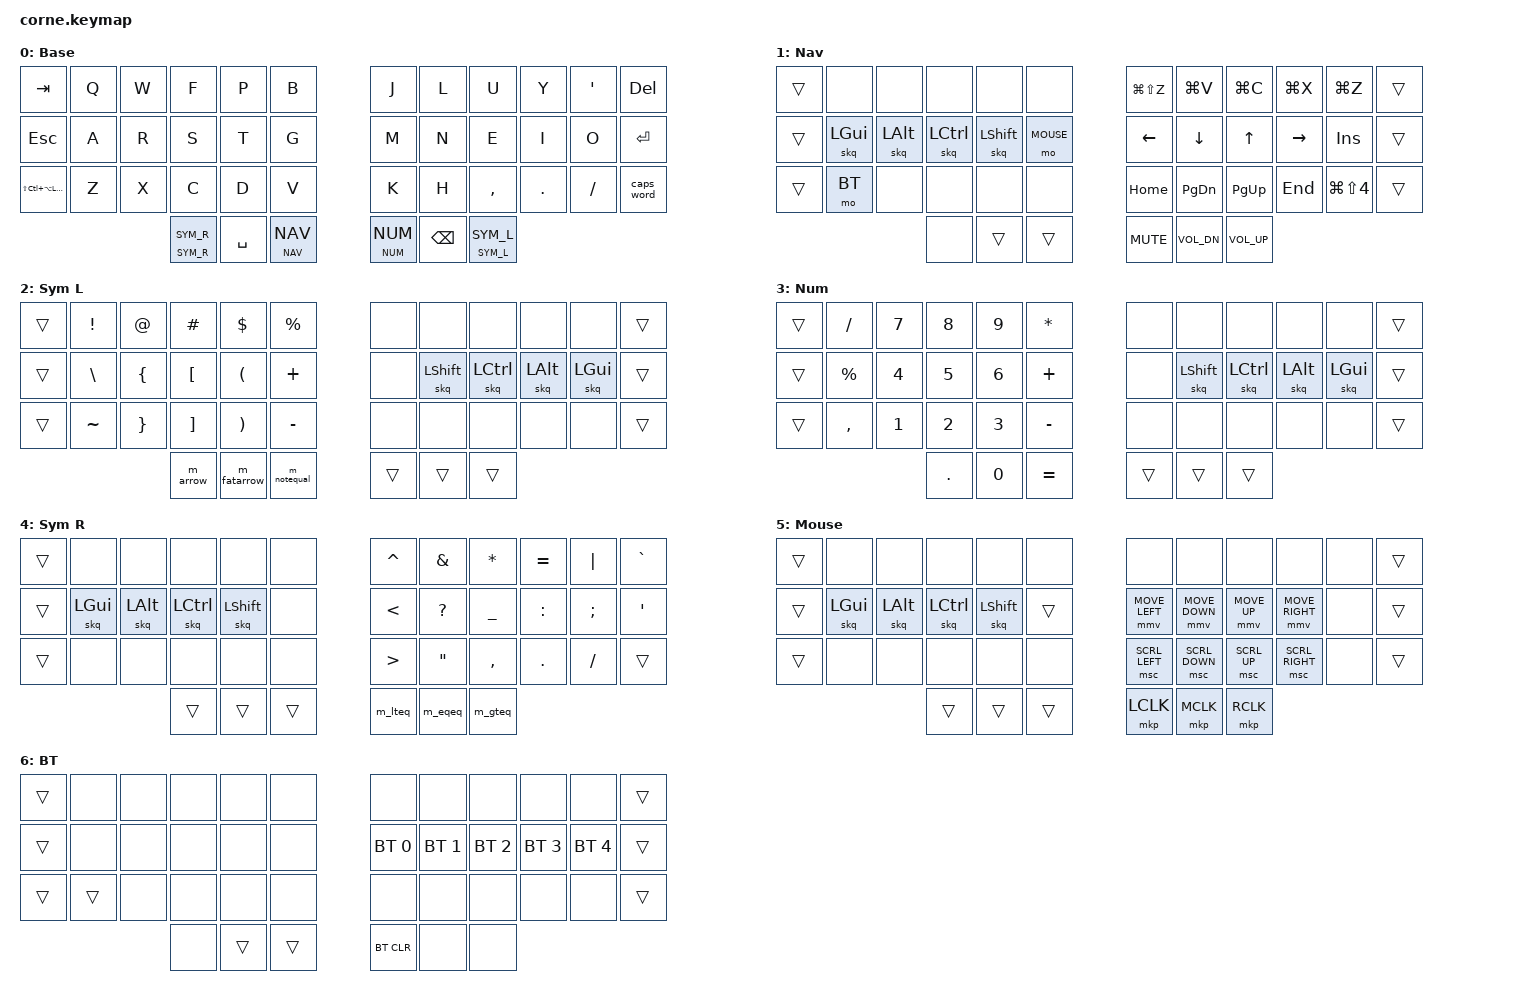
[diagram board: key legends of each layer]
/*
 * Copyright (c) 2020 The ZMK Contributors
 *
 * SPDX-License-Identifier: MIT
 */

#include <behaviors.dtsi>
#include <dt-bindings/zmk/keys.h>
#include <dt-bindings/zmk/bt.h>

#define ZMK_POINTING_DEFAULT_MOVE_VAL 1400
#include <dt-bindings/zmk/pointing.h>

#define BASE  0
#define NAV   1
#define SYM_L 2
#define NUM   3
#define SYM_R 4
#define MOUSE 5
#define BT    6

#define HYPER LS(LC(LA(LGUI)))

// Key positions (Corne 42-key)
// Row 0:   0   1   2   3   4   5    |   6   7   8   9  10  11
// Row 1:  12  13  14  15  16  17    |  18  19  20  21  22  23
// Row 2:  24  25  26  27  28  29    |  30  31  32  33  34  35
// Thumb:              36  37  38    |  39  40  41
#define KEYS_LEFT  0  1  2  3  4  5  12 13 14 15 16 17  24 25 26 27 28 29
#define KEYS_RIGHT 6  7  8  9 10 11  18 19 20 21 22 23  30 31 32 33 34 35
#define THUMBS_L   36 37 38
#define THUMBS_R   39 40 41

&mmv {
        acceleration-exponent = <1>;
        time-to-max-speed-ms = <300>;
};

&msc {
        acceleration-exponent = <1>;
        time-to-max-speed-ms = <300>;
};

/ {
        behaviors {
                // Layer tap-hold: tap = sticky-layer, hold = momentary
                lth: layer_tap_hold {
                        compatible = "zmk,behavior-hold-tap";
                        #binding-cells = <2>;
                        flavor = "tap-preferred";
                        tapping-term-ms = <200>;
                        bindings = <&mo>, <&sl>;
                };
                // Sticky mod with quick-release (holding acts as held mod)
                skq: sticky_mod_quick {
                        compatible = "zmk,behavior-sticky-key";
                        #binding-cells = <1>;
                        bindings = <&kp>;
                        release-after-ms = <1000>;
                        quick-release;
                };
        };

        macros {
                m_arrow: m_arrow {
                        compatible = "zmk,behavior-macro";
                        #binding-cells = <0>;
                        bindings = <&kp MINUS &kp GT>;
                };
                m_fatarrow: m_fatarrow {
                        compatible = "zmk,behavior-macro";
                        #binding-cells = <0>;
                        bindings = <&kp EQUAL &kp GT>;
                };
                m_notequal: m_notequal {
                        compatible = "zmk,behavior-macro";
                        #binding-cells = <0>;
                        bindings = <&kp EXCL &kp EQUAL>;
                };
                m_lteq: m_lteq {
                        compatible = "zmk,behavior-macro";
                        #binding-cells = <0>;
                        bindings = <&kp LT &kp EQUAL>;
                };
                m_eqeq: m_eqeq {
                        compatible = "zmk,behavior-macro";
                        #binding-cells = <0>;
                        bindings = <&kp EQUAL &kp EQUAL>;
                };
                m_gteq: m_gteq {
                        compatible = "zmk,behavior-macro";
                        #binding-cells = <0>;
                        bindings = <&kp GT &kp EQUAL>;
                };
        };

        keymap {
                compatible = "zmk,keymap";

                base_layer {
// -----------------------------------------------------------------------------------------
// | TAB |  Q  |  W  |  F  |  P  |  B  |   |  J  |  L  |  U  |  Y  |  '  | DEL  |
// | ESC |  A  |  R  |  S  |  T  |  G  |   |  M  |  N  |  E  |  I  |  O  | ENT  |
// | HYP |  Z  |  X  |  C  |  D  |  V  |   |  K  |  H  |  ,  |  .  |  /  | CAPW |
//                   | LT4 | SPC | LT1 |   | LT2 |BSPC | LT3 |
                        display-name = "Base";
                        bindings = <
   &kp TAB     &kp Q       &kp W       &kp F       &kp P       &kp B            &kp J     &kp L       &kp U       &kp Y       &kp SQT     &kp DEL
   &kp ESC     &kp A       &kp R       &kp S       &kp T       &kp G            &kp M     &kp N       &kp E       &kp I       &kp O       &kp RET
   &kp HYPER   &kp Z       &kp X       &kp C       &kp D       &kp V            &kp K     &kp H       &kp COMMA   &kp DOT     &kp FSLH    &caps_word
                                       &lth SYM_R SYM_R &kp SPACE &lth NAV NAV        &lth NUM NUM &kp BSPC &lth SYM_L SYM_L
                        >;
                };

                nav_layer {
// -----------------------------------------------------------------------------------------
// |  ▽  |  ·  |  ·  |  ·  |  ·  |  ·  |   | RDO | PST | CPY | CUT | UND |  ▽   |
// |  ▽  |SK⌘  |SK⌥  |SK⌃  |SK⇧  | MOU |   |  ←  |  ↓  |  ↑  |  →  | INS |  ▽   |
// |  ▽  | BT⇧ |  ·  |  ·  |  ·  |  ·  |   |HOME |PGDN |PGUP | END |SCRN |  ▽   |
//                   |  ·  |  ▽  |  ▽  |   |MUTE |VOL- |VOL+ |
                        display-name = "Nav";
                        bindings = <
   &trans  &none      &none      &none      &none      &none              &kp LG(LS(Z)) &kp LG(V)  &kp LG(C)  &kp LG(X)  &kp LG(Z)  &trans
   &trans  &skq LGUI  &skq LALT  &skq LCTRL &skq LSHFT &mo MOUSE          &kp LEFT      &kp DOWN   &kp UP     &kp RIGHT  &kp INS    &trans
   &trans  &mo BT     &none      &none      &none      &none              &kp HOME      &kp PG_DN  &kp PG_UP  &kp END    &kp LG(LS(N4)) &trans
                                 &none      &trans     &trans             &kp C_MUTE    &kp C_VOL_DN &kp C_VOL_UP
                        >;
                };

                sym_l_layer {
// -----------------------------------------------------------------------------------------
// |  ▽  |  !  |  @  |  #  |  $  |  %  |   |  ·  |  ·  |  ·  |  ·  |  ·  |  ▽   |
// |  ▽  |  \  |  {  |  [  |  (  |  +  |   |  ·  |SK⌃  |SK⇧  |SK⌥  |SK⌘  |  ▽   |
// |  ▽  |  ~  |  }  |  ]  |  )  |  -  |   |  ·  |  ·  |  ·  |  ·  |  ·  |  ▽   |
//                   | ->  | =>  | !=  |   |  ▽  |  ▽  |  ▽  |
                        display-name = "Sym L";
                        bindings = <
   &trans  &kp EXCL   &kp AT     &kp HASH   &kp DLLR   &kp PRCNT       &none      &none      &none      &none      &none      &trans
   &trans  &kp BSLH   &kp LBRC   &kp LBKT   &kp LPAR   &kp PLUS        &none      &skq LSHFT &skq LCTRL &skq LALT  &skq LGUI  &trans
   &trans  &kp TILDE  &kp RBRC   &kp RBKT   &kp RPAR   &kp MINUS       &none      &none      &none      &none      &none      &trans
                                 &m_arrow   &m_fatarrow &m_notequal    &trans     &trans     &trans
                        >;
                };

                num_layer {
// -----------------------------------------------------------------------------------------
// |  ▽  |  /  |  7  |  8  |  9  |  *  |   |  ·  |  ·  |  ·  |  ·  |  ·  |  ▽   |
// |  ▽  |  %  |  4  |  5  |  6  |  +  |   |  ·  |SK⇧  |SK⌃  |SK⌥  |SK⌘  |  ▽   |
// |  ▽  |  ,  |  1  |  2  |  3  |  -  |   |  ·  |  ·  |  ·  |  ·  |  ·  |  ▽   |
//                   |  .  |  0  |  =  |   |  ▽  |  ▽  |  ▽  |
                        display-name = "Num";
                        bindings = <
   &trans  &kp FSLH   &kp N7     &kp N8     &kp N9     &kp STAR        &none      &none      &none      &none      &none      &trans
   &trans  &kp PRCNT  &kp N4     &kp N5     &kp N6     &kp PLUS        &none      &skq LSHFT &skq LCTRL &skq LALT  &skq LGUI  &trans
   &trans  &kp COMMA  &kp N1     &kp N2     &kp N3     &kp MINUS       &none      &none      &none      &none      &none      &trans
                                 &kp DOT    &kp N0     &kp EQUAL       &trans     &trans     &trans
                        >;
                };

                sym_r_layer {
// -----------------------------------------------------------------------------------------
// |  ▽  |  ·  |  ·  |  ·  |  ·  |  ·  |   |  ^  |  &  |  *  |  =  |  |  |  `   |
// |  ▽  |SK⌘  |SK⌥  |SK⇧  |SK⌃  |  ·  |   |  <  |  ?  |  _  |  :  |  ;  |  '   |
// |  ▽  |  ·  |  ·  |  ·  |  ·  |  ·  |   |  >  |  "  |  ,  |  .  |  /  |  ▽   |
//                   |  ▽  |  ▽  |  ▽  |   | <=  | ==  | >=  |
                        display-name = "Sym R";
                        bindings = <
   &trans  &none      &none      &none      &none      &none           &kp CARET &kp AMPS   &kp STAR   &kp EQUAL  &kp PIPE   &kp GRAVE
   &trans  &skq LGUI  &skq LALT  &skq LCTRL &skq LSHFT &none           &kp LT    &kp QMARK  &kp UNDER  &kp COLON  &kp SEMI   &kp SQT
   &trans  &none      &none      &none      &none      &none           &kp GT    &kp DQT    &kp COMMA  &kp DOT    &kp FSLH   &trans
                                 &trans     &trans     &trans          &m_lteq   &m_eqeq    &m_gteq
                        >;
                };

                mouse_layer {
// -----------------------------------------------------------------------------------------
// |  ▽  |  ·  |  ·  |  ·  |  ·  |  ·  |   |  ·  |  ·  |  ·  |  ·  |  ·  |  ▽   |
// |  ▽  |SK⌘  |SK⌥  |SK⌃  |SK⇧  |  ▽  |   | M←  | M↓  | M↑  | M→  |  ·  |  ▽   |
// |  ▽  |  ·  |  ·  |  ·  |  ·  |  ·  |   | S←  | S↓  | S↑  | S→  |  ·  |  ▽   |
//                   |  ▽  |  ▽  |  ▽  |   | LMB | MMB | RMB |
                        display-name = "Mouse";
                        bindings = <
   &trans  &none      &none      &none      &none      &none           &none            &none            &none          &none             &none      &trans
   &trans  &skq LGUI  &skq LALT  &skq LCTRL &skq LSHFT &trans          &mmv MOVE_LEFT   &mmv MOVE_DOWN   &mmv MOVE_UP   &mmv MOVE_RIGHT   &none      &trans
   &trans  &none      &none      &none      &none      &none           &msc SCRL_LEFT   &msc SCRL_DOWN   &msc SCRL_UP   &msc SCRL_RIGHT   &none      &trans
                                 &trans     &trans     &trans          &mkp LCLK        &mkp MCLK        &mkp RCLK
                        >;
                };

                bt_layer {
// -----------------------------------------------------------------------------------------
// |  ▽  |  ·  |  ·  |  ·  |  ·  |  ·  |   |  ·  |  ·  |  ·  |  ·  |  ·  |  ▽   |
// |  ▽  |  ·  |  ·  |  ·  |  ·  |  ·  |   | BT0 | BT1 | BT2 | BT3 | BT4 |  ▽   |
// |  ▽  |  ▽  |  ·  |  ·  |  ·  |  ·  |   |  ·  |  ·  |  ·  |  ·  |  ·  |  ▽   |
//                   |  ·  |  ▽  |  ▽  |   | CLR |  ·  |  ·  |
                        display-name = "BT";
                        bindings = <
   &trans  &none      &none      &none      &none      &none              &none         &none         &none         &none         &none      &trans
   &trans  &none      &none      &none      &none      &none              &bt BT_SEL 0  &bt BT_SEL 1  &bt BT_SEL 2  &bt BT_SEL 3  &bt BT_SEL 4 &trans
   &trans  &trans     &none      &none      &none      &none              &none         &none         &none         &none         &none      &trans
                                 &none      &trans     &trans             &bt BT_CLR    &none         &none
                        >;
                };

                extra_3 {
                        status = "reserved";
                };
        };
};
